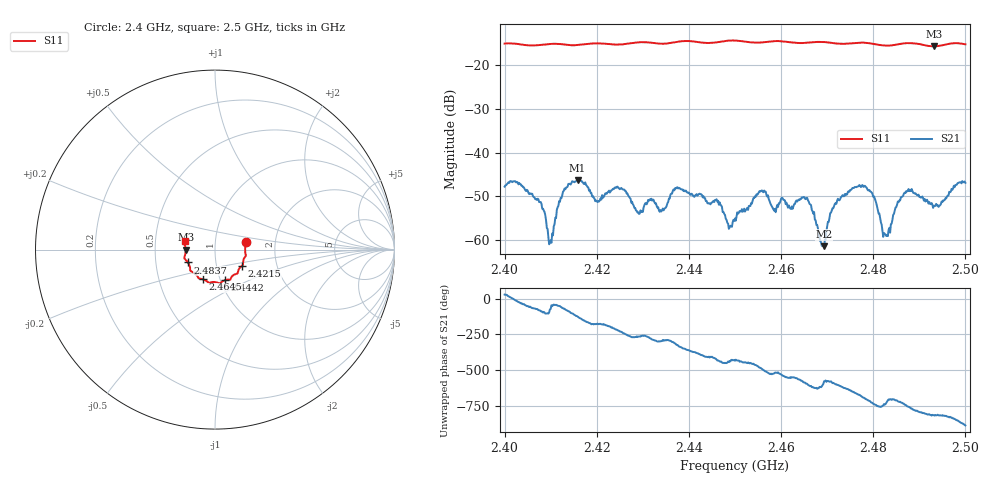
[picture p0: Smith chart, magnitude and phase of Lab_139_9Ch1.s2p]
# Hz S RI R 50
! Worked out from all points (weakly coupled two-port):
!   601 points, 2.4 GHz to 2.5 GHz, reference 50 ohm
!   highest |S21| = -46.22 dB at 2.4158 GHz (marker M1); lowest = -61.4 dB at 2.4693 GHz (marker M2)
!   lowest |S11| = -15.7 dB at 2.4932 GHz (marker M3), VSWR 1.39, Z = 35.9 - j0.0647 ohm
!   |S11| at or under -10 dB: start of sweep to end of sweep
!   S12 and S22 are empty: the file has one direction only
!   S11 on the Smith chart (normalised r, x): 2.4 GHz: 1.41, +0.12; 2.4215 GHz: 1.33, -0.25; 2.4442 GHz: 1.05, -0.37; 2.4645 GHz: 0.83, -0.29; 2.4837 GHz: 0.73, -0.11; 2.5 GHz: 0.71, +0.07
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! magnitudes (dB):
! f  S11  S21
! 2.4 GHz  -15.1  -47.8
! 2.4075 GHz  -15.4  -51.3
! 2.41 GHz  -15.2  -60.0
! 2.4127 GHz  -15.3  -48.9
! 2.4158 GHz  -15.4  -46.2
! 2.4167 GHz  -15.3  -46.4
! 2.4215 GHz  -15.1  -50.1
! 2.4333 GHz  -15.1  -52.5
! 2.4375 GHz  -14.7  -47.9
! 2.4442 GHz  -15.0  -51.6
! 2.45 GHz  -14.4  -55.0
! 2.4558 GHz  -14.8  -48.6
! 2.4645 GHz  -15.0  -50.2
! 2.4667 GHz  -14.8  -53.1
! 2.4693 GHz  -14.7  -61.4
! 2.4718 GHz  -15.1  -51.5
! 2.4772 GHz  -14.9  -47.6
! 2.4833 GHz  -15.6  -57.6
! 2.4837 GHz  -15.5  -58.3
! 2.4872 GHz  -15.0  -48.8
! 2.4932 GHz  -15.7  -52.1
! 2.5 GHz  -15.3  -46.9
